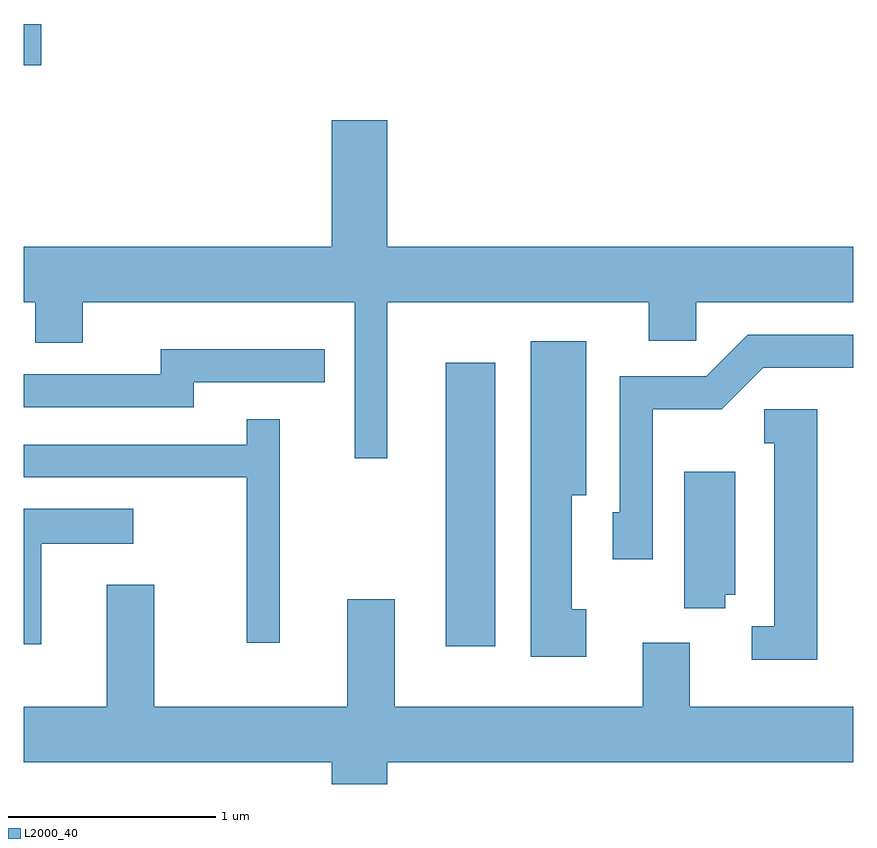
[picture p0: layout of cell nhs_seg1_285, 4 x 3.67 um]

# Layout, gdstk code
import gdstk
lib = gdstk.Library(unit=1e-6, precision=1e-09)
def R(c, l, rs):  # rectangles x0, y0, x1, y1
    for r in rs: c.add(gdstk.rectangle(r[:2], r[2:], *l))
def P(c, l, *ps):  # polygons
    for p in ps: c.add(gdstk.Polygon(p, *l))
L2000_40 = (2000, 40)

nhs_seg1_285 = lib.new_cell('nhs_seg1_285')
R(nhs_seg1_285, L2000_40, [(195.646,882.376,195.884,883.744), (193.611,885.181,193.694,885.379)])
P(nhs_seg1_285, L2000_40, [(195.364,884.036),(196.626,884.036),(196.626,883.851),(196.854,883.851),(196.854,884.036),(197.611,884.036),(197.611,884.304),(195.364,884.304),(195.364,884.914),(195.096,884.914),(195.096,884.304),(193.611,884.304),(193.611,884.036),(193.666,884.036),(193.666,883.841),(193.894,883.841),(193.894,884.036),(195.206,884.036),(195.206,883.283),(195.364,883.283)],
  [(196.644,883.521),(196.977,883.521),(197.177,883.721),(197.611,883.721),(197.611,883.879),(197.104,883.879),(196.904,883.679),(196.486,883.679),(196.486,883.024),(196.451,883.024),(196.451,882.796),(196.644,882.796)],
  [(196.324,882.554),(196.254,882.554),(196.254,883.106),(196.324,883.106),(196.324,883.849),(196.056,883.849),(196.056,882.326),(196.324,882.326)],
  [(194.429,883.651),(195.063,883.651),(195.063,883.809),(194.271,883.809),(194.271,883.689),(193.611,883.689),(193.611,883.531),(194.429,883.531)],
  [(197.439,883.519),(197.183,883.519),(197.183,883.356),(197.231,883.356),(197.231,882.474),(197.123,882.474),(197.123,882.311),(197.439,882.311)],
  [(194.844,883.473),(194.686,883.473),(194.686,883.349),(193.611,883.349),(193.611,883.191),(194.686,883.191),(194.686,882.393),(194.844,882.393)],
  [(196.994,882.626),(197.044,882.626),(197.044,883.219),(196.796,883.219),(196.796,882.561),(196.994,882.561)],
  [(193.694,882.871),(194.138,882.871),(194.138,883.039),(193.611,883.039),(193.611,882.386),(193.694,882.386)],
  [(195.364,881.816),(197.611,881.816),(197.611,882.084),(196.824,882.084),(196.824,882.394),(196.596,882.394),(196.596,882.084),(195.399,882.084),(195.399,882.604),(195.171,882.604),(195.171,882.084),(194.239,882.084),(194.239,882.674),(194.011,882.674),(194.011,882.084),(193.611,882.084),(193.611,881.816),(195.096,881.816),(195.096,881.712),(195.364,881.712)])

lib.write_gds('nhs_seg1_285.gds')
